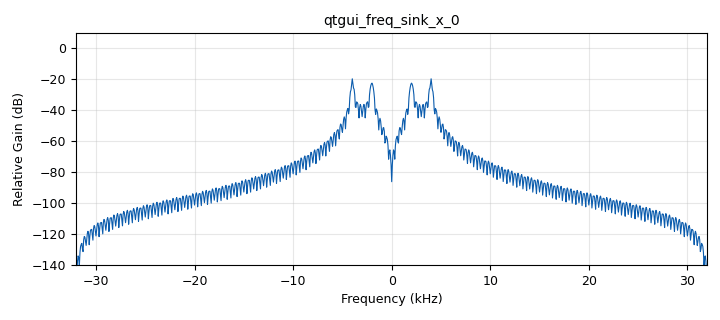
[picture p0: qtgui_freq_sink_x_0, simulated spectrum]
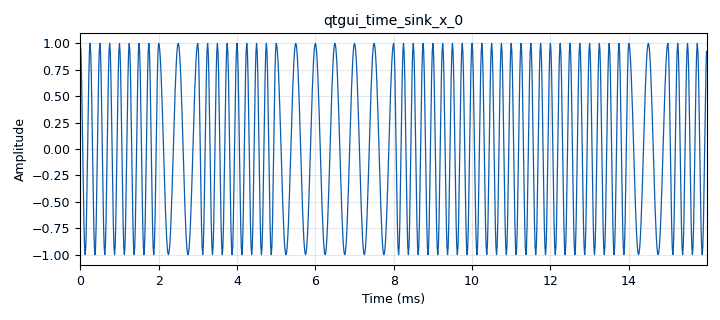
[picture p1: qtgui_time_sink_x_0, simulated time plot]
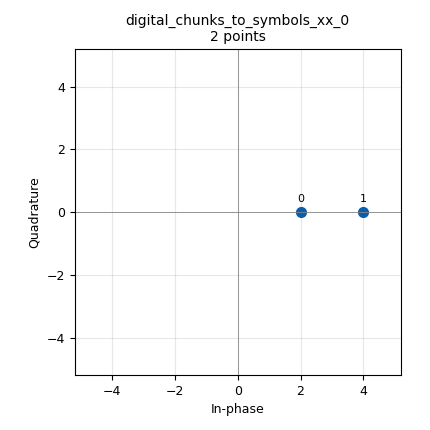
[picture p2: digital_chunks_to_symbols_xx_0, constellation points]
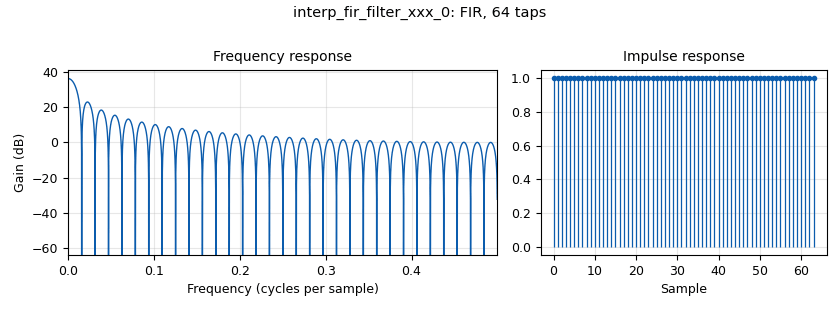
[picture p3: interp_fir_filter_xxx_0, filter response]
options:
  parameters:
    generate_options: qt_gui
    id: fsk
    output_language: python
    title: Not titled yet
  states: {}

blocks:
- name: dev
  id: variable
  parameters:
    value: '1000'
  states: {}
- name: samp_rate
  id: variable
  parameters:
    value: '64000'
  states: {}
- name: analog_random_source_x_0
  id: analog_random_source_x
  parameters:
    max: '2'
    min: '0'
    num_samps: '1000'
    repeat: 'True'
    type: int
  states: {}
- name: blocks_throttle2_0
  id: blocks_throttle2
  parameters:
    samples_per_second: samp_rate
    type: float
  states: {}
- name: blocks_vco_f_0
  id: blocks_vco_f
  parameters:
    amplitude: '1'
    samp_rate: samp_rate
    sensitivity: (2 * numpy.pi * dev)
  states: {}
- name: digital_chunks_to_symbols_xx_0
  id: digital_chunks_to_symbols_xx
  parameters:
    dimension: '1'
    in_type: int
    out_type: float
    symbol_table: '[2, 4]'
  states: {}
- name: import_0
  id: import
  parameters:
    imports: import numpy
  states: {}
- name: interp_fir_filter_xxx_0
  id: interp_fir_filter_xxx
  parameters:
    interp: '64'
    taps: numpy.ones(64)
    type: fff
  states: {}
- name: qtgui_freq_sink_x_0
  id: qtgui_freq_sink_x
  parameters:
    bw: samp_rate
    fc: '0'
    fftsize: '1024'
    type: float
  states: {}
- name: qtgui_time_sink_x_0
  id: qtgui_time_sink_x
  parameters:
    autoscale: 'True'
    size: '1024'
    srate: samp_rate
    type: float
  states: {}

connections:
- [analog_random_source_x_0, '0', digital_chunks_to_symbols_xx_0, '0']
- [blocks_throttle2_0, '0', qtgui_freq_sink_x_0, '0']
- [blocks_throttle2_0, '0', qtgui_time_sink_x_0, '0']
- [blocks_vco_f_0, '0', blocks_throttle2_0, '0']
- [digital_chunks_to_symbols_xx_0, '0', interp_fir_filter_xxx_0, '0']
- [interp_fir_filter_xxx_0, '0', blocks_vco_f_0, '0']

metadata:
  file_format: 1
  grc_version: 3.10.12.0
